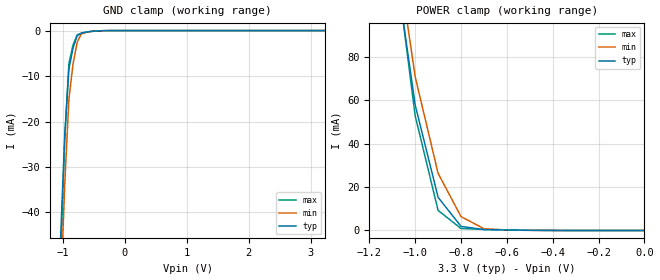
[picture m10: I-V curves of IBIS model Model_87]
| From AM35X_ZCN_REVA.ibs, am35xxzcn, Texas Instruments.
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| Model based on original model for IQ1833DVTPBFZP18LL_7LM
|   Sub model PBFZP18LL_7LM_PI_3P3
[model]   Model_87
|[Description]  3.3V-INPUT-PI-X
|[Input Load]   PI
|[Output Drive]
|Voltage   3.3V
|Mode   INPUT
Model_type   Input
Polarity   Non-Inverting
Vinl =  0.8V
Vinh =  2V
C_comp   1.012258p   0.8890016p   1.091755p
[Model Spec]
Vinl   0.8V   0.8V   0.8V
Vinh   2V   2V   2V
[Temperature Range]   25   125   -40
[Voltage Range]   3.3   2.97   3.63
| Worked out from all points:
|   GND clamp passes 1 mA (typ) near -0.75 V on its own axis
|   POWER clamp passes 1 mA (typ) near -0.74 V on its own axis
[POWER_clamp]
-3.3V     2.37A      2.826A     2.542A
-1.067V   107.1mA    118.9mA    108.1mA
-1.033V   82.43mA    94.82mA    80.43mA
-1V       57.8mA     70.76mA    52.79mA
-900mV    15.24mA    26.27mA    9.219mA
-800mV    1.891mA    6.386mA    920.3uA
-700mV    413.8uA    830.5uA    493.8uA
-500mV    92.23uA    60.94uA    105uA
0V        9.09nA     33.61nA    36.58nA
[GND_clamp]
-3.3V     -1.792A    -1.668A    -2.631A
-1.033V   -45.54mA   -57.74mA   -50.28mA
-966.7mV  -22.82mA   -33.82mA   -24.04mA
-900mV    -8.514mA   -15.05mA   -7.265mA
-833.3mV  -3.815mA   -7.364mA   -3.174mA
-766.7mV  -1.156mA   -2.592mA   -954.7uA
-700mV    -537uA     -735.7uA   -606.1uA
-566.7mV  -224.7uA   -222.2uA   -244.9uA
-433.3mV  -72.81uA   -71.19uA   -81.46uA
3.233V    8.972nA    1.341uA    33.57nA
